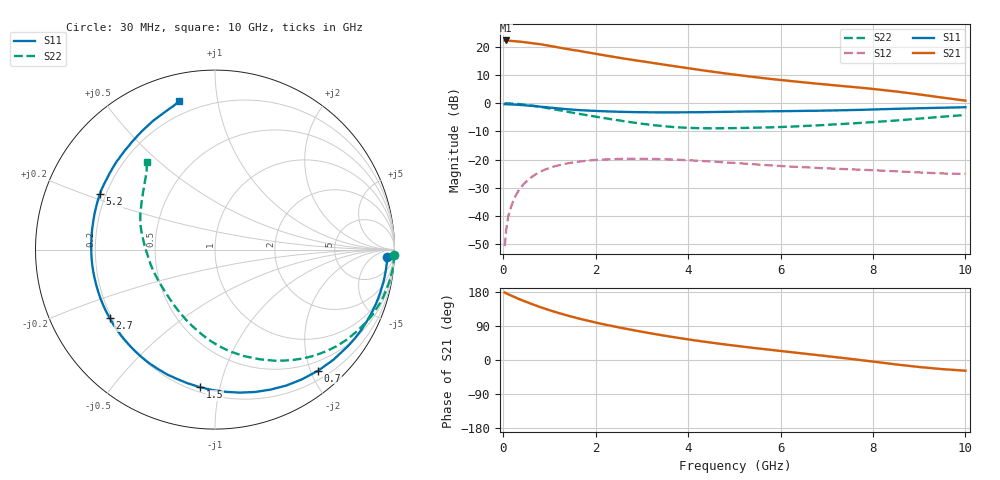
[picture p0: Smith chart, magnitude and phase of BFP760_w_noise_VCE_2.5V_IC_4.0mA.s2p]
! Infineon Technologies  Discrete & RF Semiconductors
! BFP760
! VCE =  2.5 V,  IC =  4.0 mA
! Common Emitter S-Parameters:  Nov 2012
# GHz  S  MA  R  50
!  f  S11  S21  S12  S22
! GHz  MAG  ANG  MAG  ANG  MAG  ANG  MAG  ANG
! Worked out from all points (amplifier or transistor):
!   99 points, 30 MHz to 10 GHz, reference 50 ohm
!   highest |S21| = 22.3 dB at 50 MHz (marker M1)
!   |S21| within 3 dB of that: start of sweep to 1.376 GHz
!   unconditionally stable (mu >= 1): 6.46 GHz to end of sweep
!   at 350 MHz: K = 0.07, MSG = 26.2 dB, |S12| = -30.6 dB
!   at 3.5 GHz: K = 0.43, MSG = 16.8 dB, |S12| = -19.9 dB
!   at 10 GHz: K = 1.39, MAG = 9.3 dB, |S12| = -25.1 dB
!   lowest NFmin = 0.43 dB at 900 MHz
!   S11 on the Smith chart (normalised r, x): 30 MHz: 25, -25; 700 MHz: 0.34, -2.12; 1.5 GHz: 0.23, -0.87; 2.7 GHz: 0.19, -0.29; 5.2 GHz: 0.18, +0.22; 10 GHz: 0.13, +0.78
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0.03  0.9615 -2.3  12.85 178.2  0.0029 85.0  0.9997 -1.7
0.05  0.9609 -3.7  13.04 176.6  0.004 89.6  0.9994 -2.6
0.1  0.9583 -7.5  12.99 173.9  0.009 83.6  0.9963 -5.2
0.15  0.9553 -11.1  12.86 171.2  0.013 82.9  0.9926 -7.8
0.4  0.9294 -29.1  12.32 158.0  0.0334 71.7  0.9567 -20.3
0.6  0.9012 -42.9  11.74 148.5  0.048 63.3  0.9138 -29.7
0.7  0.8863 -49.5  11.43 144.1  0.0546 59.3  0.8904 -34.2
0.8  0.8699 -56.3  11.2 139.6  0.0606 55.3  0.8643 -38.6
1  0.8386 -68.6  10.48 131.5  0.0712 48.2  0.8092 -46.9
1.2  0.8086 -80.2  9.795 124.0  0.0793 41.7  0.7547 -54.5
1.5  0.771 -96.3  8.859 113.8  0.0887 33.3  0.6804 -64.7
1.7  0.7508 -106.5  8.347 107.5  0.0932 28.4  0.6361 -71.2
2.2  0.7197 -128.5  7.078 93.5  0.1004 17.6  0.5434 -86.6
2.7  0.6999 -147.1  6.065 81.4  0.1032 8.7  0.4692 -100.7
3  0.6935 -157.3  5.564 74.5  0.1032 4.1  0.433 -109.5
3.4  0.6892 -169.6  4.96 66.0  0.1018 -1.4  0.3971 -120.9
4.1  0.6927 172.7  4.081 52.6  0.0964 -9.3  0.3639 -140.2
5.1  0.7106 155.4  3.156 36.5  0.0861 -16.5  0.3636 -161.2
5.2  0.7125 154.1  3.083 35.0  0.085 -17.0  0.3647 -162.9
6.7  0.7363 137.6  2.267 14.4  0.0718 -19.9  0.4013 173.2
8.5  0.7964 115.6  1.618 -11.7  0.062 -19.6  0.494 145.5
10  0.8498 103.6  1.114 -28.2  0.0556 -13.3  0.6196 127.7
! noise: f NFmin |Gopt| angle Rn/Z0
0.9  0.43  0.46  26  0.14
1.8  0.52  0.39  54  0.12
2.4  0.63  0.33  75  0.11
3.5  0.81  0.27  109  0.1
5.5  1.15  0.36  -157  0.08
8  1.69  0.49  -104  0.29
